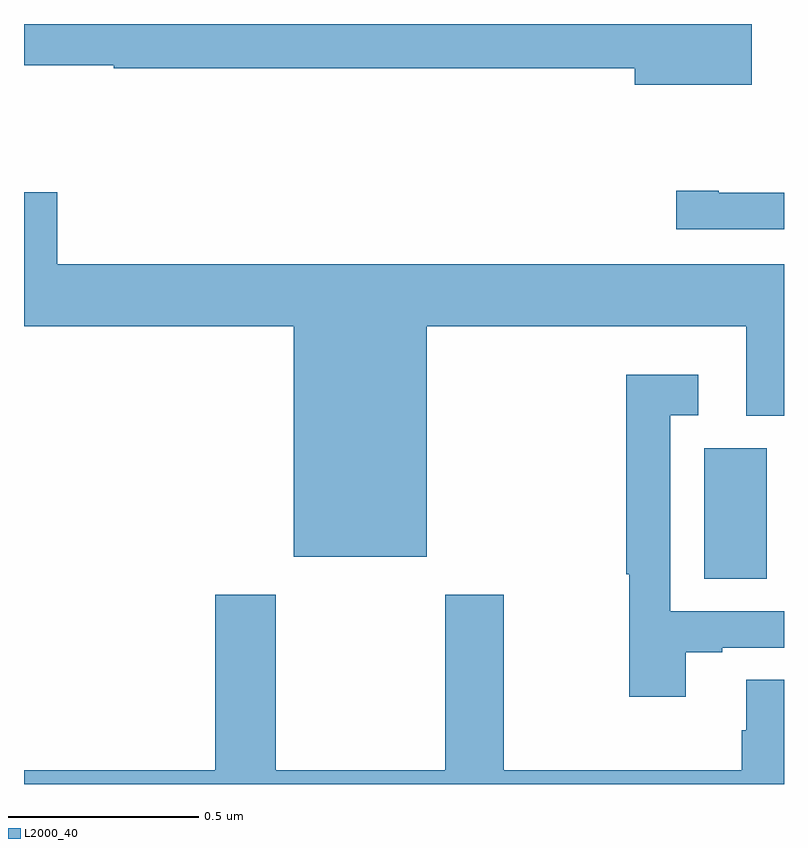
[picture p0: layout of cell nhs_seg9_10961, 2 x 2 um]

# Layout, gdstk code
import gdstk
lib = gdstk.Library(unit=1e-6, precision=1e-09)
def R(c, l, rs):  # rectangles x0, y0, x1, y1
    for r in rs: c.add(gdstk.rectangle(r[:2], r[2:], *l))
def P(c, l, *ps):  # polygons
    for p in ps: c.add(gdstk.Polygon(p, *l))
L2000_40 = (2000, 40)

nhs_seg9_10961 = lib.new_cell('nhs_seg9_10961')
R(nhs_seg9_10961, L2000_40, [(250.79,1245.04,250.954,1245.384)])
P(nhs_seg9_10961, L2000_40, [(250.915,1246.5),(249,1246.5),(249,1246.392),(249.236,1246.392),(249.236,1246.384),(250.607,1246.384),(250.607,1246.34),(250.915,1246.34)],
  [(251,1246.056),(250.828,1246.056),(250.828,1246.061),(250.716,1246.061),(250.716,1245.96),(251,1245.96)],
  [(250.06,1245.704),(250.901,1245.704),(250.901,1245.469),(251,1245.469),(251,1245.868),(249.088,1245.868),(249.088,1246.057),(249,1246.057),(249,1245.704),(249.71,1245.704),(249.71,1245.098),(250.06,1245.098)],
  [(250.741,1244.847),(250.837,1244.847),(250.837,1244.859),(251,1244.859),(251,1244.955),(250.701,1244.955),(250.701,1245.471),(250.774,1245.471),(250.774,1245.577),(250.585,1245.577),(250.585,1245.052),(250.593,1245.052),(250.593,1244.73),(250.741,1244.73)],
  [(251,1244.774),(250.901,1244.774),(250.901,1244.642),(250.889,1244.642),(250.889,1244.536),(250.263,1244.536),(250.263,1244.998),(250.108,1244.998),(250.108,1244.536),(249.663,1244.536),(249.663,1244.998),(249.503,1244.998),(249.503,1244.536),(249,1244.536),(249,1244.5),(251,1244.5)])

lib.write_gds('nhs_seg9_10961.gds')
